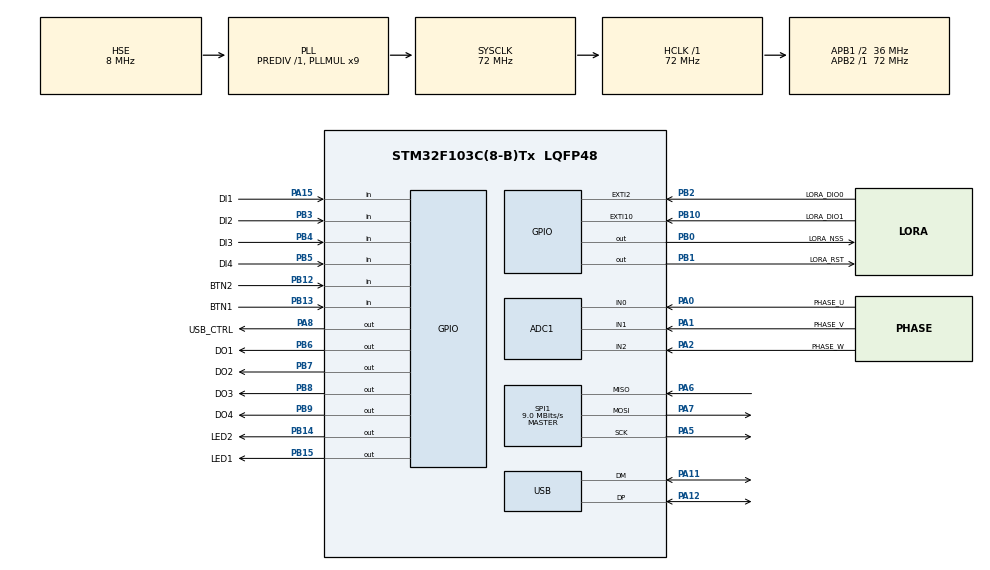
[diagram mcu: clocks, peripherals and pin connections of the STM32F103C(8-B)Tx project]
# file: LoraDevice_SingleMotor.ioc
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ADC1.Channel-0\#ChannelRegularConversion=ADC_CHANNEL_0
ADC1.Channel-1\#ChannelRegularConversion=ADC_CHANNEL_1
ADC1.Channel-2\#ChannelRegularConversion=ADC_CHANNEL_2
ADC1.ExternalTrigConv=ADC_EXTERNALTRIGCONV_T3_TRGO
ADC1.NbrOfConversion=3
ADC1.NbrOfConversionFlag=1
ADC1.Rank-0\#ChannelRegularConversion=1
ADC1.Rank-1\#ChannelRegularConversion=2
ADC1.Rank-2\#ChannelRegularConversion=3
ADC1.SamplingTime-0\#ChannelRegularConversion=ADC_SAMPLETIME_1CYCLE_5
ADC1.SamplingTime-1\#ChannelRegularConversion=ADC_SAMPLETIME_1CYCLE_5
ADC1.SamplingTime-2\#ChannelRegularConversion=ADC_SAMPLETIME_1CYCLE_5
ADC1.master=1
Dma.ADC1.0.Direction=DMA_PERIPH_TO_MEMORY
Dma.ADC1.0.Instance=DMA1_Channel1
Dma.ADC1.0.MemDataAlignment=DMA_MDATAALIGN_HALFWORD
Dma.ADC1.0.MemInc=DMA_MINC_ENABLE
Dma.ADC1.0.Mode=DMA_CIRCULAR
Dma.ADC1.0.PeriphDataAlignment=DMA_PDATAALIGN_HALFWORD
Dma.ADC1.0.PeriphInc=DMA_PINC_DISABLE
Dma.ADC1.0.Priority=DMA_PRIORITY_LOW
Dma.Request0=ADC1
FREERTOS.Queues01=txMsgQueue,16,LoraPackage_t,0,Dynamic,NULL,NULL
FREERTOS.Tasks01=systemTask,16,128,StartSystemTask,Default,NULL,Dynamic,NULL,NULL;sensorTask,32,128,StartSensorTask,Default,NULL,Dynamic,NULL,NULL;loraSendTask,8,256,StartLoraSendTask,Default,NULL,Dynamic,NULL,NULL;loraReceiveTask,8,512,StartLoraReceiveTask,Default,NULL,Dynamic,NULL,NULL
FREERTOS.Timers01=PeriodicSendStatusTimer,PeriodicSendStatusTimerCallback,osTimerPeriodic,Default,NULL,Dynamic,NULL
FREERTOS.configTOTAL_HEAP_SIZE=10240
FREERTOS.configUSE_IDLE_HOOK=1
FREERTOS.configUSE_MALLOC_FAILED_HOOK=1
Mcu.Family=STM32F1
Mcu.Name=STM32F103C(8-B)Tx
Mcu.Package=LQFP48
NVIC.DMA1_Channel1_IRQn=true\:5\:0\:false\:false\:true\:true\:false\:true\:true
NVIC.EXTI2_IRQn=true\:5\:0\:false\:false\:true\:true\:true\:true\:true
NVIC.PriorityGroup=NVIC_PRIORITYGROUP_4
NVIC.TIM1_UP_IRQn=true\:15\:0\:false\:false\:true\:false\:false\:true\:true
NVIC.TimeBase=TIM1_UP_IRQn
NVIC.TimeBaseIP=TIM1
NVIC.USB_LP_CAN1_RX0_IRQn=true\:5\:0\:false\:false\:true\:true\:false\:true\:true
PA0-WKUP.GPIO_Label=PHASE_U
PA0-WKUP.Signal=ADCx_IN0
PA1.GPIO_Label=PHASE_V
PA1.Signal=ADCx_IN1
PA11.Mode=Device
PA11.Signal=USB_DM
PA12.Mode=Device
PA12.Signal=USB_DP
PA13.Mode=Serial_Wire
PA13.Signal=SYS_JTMS-SWDIO
PA14.Mode=Serial_Wire
PA14.Signal=SYS_JTCK-SWCLK
PA15.GPIO_Label=DI1
PA15.Signal=GPIO_Input
PA2.GPIO_Label=PHASE_W
PA2.Signal=ADCx_IN2
PA5.Mode=Full_Duplex_Master
PA5.Signal=SPI1_SCK
PA6.GPIO_PuPd=GPIO_NOPULL
PA6.Mode=Full_Duplex_Master
PA6.Signal=SPI1_MISO
PA7.Mode=Full_Duplex_Master
PA7.Signal=SPI1_MOSI
PA8.GPIO_Label=USB_CTRL
PA8.Signal=GPIO_Output
PB0.GPIO_Label=LORA_NSS
PB0.PinState=GPIO_PIN_SET
PB0.Signal=GPIO_Output
PB1.GPIO_Label=LORA_RST
PB1.PinState=GPIO_PIN_SET
PB1.Signal=GPIO_Output
PB10.GPIO_Label=LORA_DIO1
PB10.Signal=GPXTI10
PB12.GPIO_Label=BTN2
PB12.Signal=GPIO_Input
PB13.GPIO_Label=BTN1
PB13.Signal=GPIO_Input
PB14.GPIO_Label=LED2
PB14.Signal=GPIO_Output
PB15.GPIO_Label=LED1
PB15.Signal=GPIO_Output
PB2.GPIO_Label=LORA_DIO0
PB2.Signal=GPXTI2
PB3.GPIO_Label=DI2
PB3.Signal=GPIO_Input
PB4.GPIO_Label=DI3
PB4.Signal=GPIO_Input
PB5.GPIO_Label=DI4
PB5.Signal=GPIO_Input
PB6.GPIO_Label=DO1
PB6.Signal=GPIO_Output
PB7.GPIO_Label=DO2
PB7.Signal=GPIO_Output
PB8.GPIO_Label=DO3
PB8.Signal=GPIO_Output
PB9.GPIO_Label=DO4
PB9.Signal=GPIO_Output
PC14-OSC32_IN.Mode=LSE-External-Oscillator
PC14-OSC32_IN.Signal=RCC_OSC32_IN
PC15-OSC32_OUT.Mode=LSE-External-Oscillator
PC15-OSC32_OUT.Signal=RCC_OSC32_OUT
PD0-OSC_IN.Mode=HSE-External-Oscillator
PD0-OSC_IN.Signal=RCC_OSC_IN
PD1-OSC_OUT.Mode=HSE-External-Oscillator
PD1-OSC_OUT.Signal=RCC_OSC_OUT
ProjectManager.HeapSize=0x200
ProjectManager.StackSize=0x400
ProjectManager.TargetToolchain=MDK-ARM V5.32
RCC.ADCPresc=RCC_ADCPCLK2_DIV6
RCC.AHBFreq_Value=72000000
RCC.APB1CLKDivider=RCC_HCLK_DIV2
RCC.APB1Freq_Value=36000000
RCC.APB1TimFreq_Value=72000000
RCC.APB2Freq_Value=72000000
RCC.APB2TimFreq_Value=72000000
RCC.HCLKFreq_Value=72000000
RCC.PLLMUL=RCC_PLL_MUL9
RCC.PLLSourceVirtual=RCC_PLLSOURCE_HSE
RCC.RTCClockSelection=RCC_RTCCLKSOURCE_LSE
RCC.SYSCLKFreq_VALUE=72000000
RCC.SYSCLKSource=RCC_SYSCLKSOURCE_PLLCLK
RCC.USBFreq_Value=48000000
RCC.USBPrescaler=RCC_USBCLKSOURCE_PLL_DIV1_5
RTC.Format=RTC_FORMAT_BIN
RTC.WeekDay=RTC_WEEKDAY_SATURDAY
SH.ADCx_IN0.0=ADC1_IN0,IN0
SH.ADCx_IN1.0=ADC1_IN1,IN1
SH.ADCx_IN2.0=ADC1_IN2,IN2
SPI1.BaudRatePrescaler=SPI_BAUDRATEPRESCALER_8
SPI1.CalculateBaudRate=9.0 MBits/s
SPI1.Direction=SPI_DIRECTION_2LINES
SPI1.Mode=SPI_MODE_MASTER
SPI1.VirtualType=VM_MASTER
TIM3.AutoReloadPreload=TIM_AUTORELOAD_PRELOAD_ENABLE
TIM3.Channel-PWM\ Generation1\ No\ Output=TIM_CHANNEL_1
TIM3.ClockDivision=TIM_CLOCKDIVISION_DIV1
TIM3.CounterMode=TIM_COUNTERMODE_UP
TIM3.Period=22499
TIM3.Prescaler=0
TIM3.Pulse-PWM\ Generation1\ No\ Output=11249
TIM3.TIM_MasterOutputTrigger=TIM_TRGO_OC1
TIM3.TIM_MasterSlaveMode=TIM_MASTERSLAVEMODE_DISABLE
USB_DEVICE.CLASS_NAME_FS=CDC
USB_DEVICE.VirtualMode=Cdc
USB_DEVICE.VirtualModeFS=Cdc_FS
VP_FREERTOS_VS_CMSIS_V2.Mode=CMSIS_V2
VP_RTC_VS_RTC_Activate.Mode=RTC_Enabled
VP_RTC_VS_RTC_Calendar.Mode=RTC_Calendar
VP_SYS_VS_tim1.Mode=TIM1
VP_TIM3_VS_ClockSourceINT.Mode=Internal
VP_TIM3_VS_no_output1.Mode=PWM Generation1 No Output
VP_USB_DEVICE_VS_USB_DEVICE_CDC_FS.Mode=CDC_FS
board=custom

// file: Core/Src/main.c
/* USER CODE BEGIN Header */
/**
  ******************************************************************************
  * @file           : main.c
  * @brief          : Main program body
  ******************************************************************************
  * @attention
  *
  * Copyright (c) 2026 STMicroelectronics.
  * All rights reserved.
  *
  * This software is licensed under terms that can be found in the LICENSE file
  * in the root directory of this software component.
  * If no LICENSE file comes with this software, it is provided AS-IS.
  *
  ******************************************************************************
  */
/* USER CODE END Header */
#include "main.h"
#include "cmsis_os.h"
#include "usb_device.h"

/* USER CODE BEGIN Includes */
#include "commandHandlers.h"
#include "motor_history.h"
#include "usbd_cdc_if.h"
#include "Lora.h"
#include "communicationLora.h"
#include "define.h"
#include "utility.h"
#include "button.h"
#include "math.h"
/* USER CODE END Includes */

ADC_HandleTypeDef hadc1;
DMA_HandleTypeDef hdma_adc1;

RTC_HandleTypeDef hrtc;

SPI_HandleTypeDef hspi1;

TIM_HandleTypeDef htim3;

/* Definitions for systemTask */
osThreadId_t systemTaskHandle;
const osThreadAttr_t systemTask_attributes = {
  .name = "systemTask",
  .stack_size = 384 * 4, /* Journal commit and packet building exceed the old 512 B. */
  .priority = (osPriority_t) osPriorityBelowNormal,
};
/* Definitions for sensorTask */
osThreadId_t sensorTaskHandle;
const osThreadAttr_t sensorTask_attributes = {
  .name = "sensorTask",
  .stack_size = 128 * 4,
  .priority = (osPriority_t) osPriorityAboveNormal,
};
/* Definitions for loraSendTask */
osThreadId_t loraSendTaskHandle;
const osThreadAttr_t loraSendTask_attributes = {
  .name = "loraSendTask",
  .stack_size = 256 * 4,
  .priority = (osPriority_t) osPriorityLow,
};
/* Definitions for loraReceiveTask */
osThreadId_t loraReceiveTaskHandle;
const osThreadAttr_t loraReceiveTask_attributes = {
  .name = "loraReceiveTask",
  .stack_size = 512 * 4,
  .priority = (osPriority_t) osPriorityLow,
};
/* Definitions for txMsgQueue */
osMessageQueueId_t txMsgQueueHandle;
const osMessageQueueAttr_t txMsgQueue_attributes = {
  .name = "txMsgQueue"
};
/* Definitions for PeriodicSendStatusTimer */
osTimerId_t PeriodicSendStatusTimerHandle;
const osTimerAttr_t PeriodicSendStatusTimer_attributes = {
  .name = "PeriodicSendStatusTimer"
};
/* USER CODE BEGIN PV */
LoRa sLoRaCtrl;
SystemInfo_t sysInfo;
static osMutexId_t motorRadioMutex;
FactoryInfo_t factoryInfo;
Button_t configButton = {BTN1_GPIO_Port, BTN1_Pin, IDLE, 0, 0, 0};
Button_t confirmButton = {BTN2_GPIO_Port, BTN2_Pin, IDLE, 0, 0, 0};
uint16_t errorCode = 0;
uint8_t rxBuffer[128];
uint8_t hasRecieveMsg = FALSE;
const int32_t ADC2CurrentConst = 3.3f / (4096.0f * GAIN_AV * R_SHUNT) * 1000.0f;

 float rms;
/* USER CODE END PV */

void SystemClock_Config(void);
static void MX_GPIO_Init(void);
static void MX_DMA_Init(void);
static void MX_ADC1_Init(void);
static void MX_RTC_Init(void);
static void MX_SPI1_Init(void);
static void MX_TIM3_Init(void);
void StartSystemTask(void *argument);
void StartSensorTask(void *argument);
void StartLoraSendTask(void *argument);
void StartLoraReceiveTask(void *argument);
void PeriodicSendStatusTimerCallback(void *argument);

int main(void)
{

  /* USER CODE BEGIN 1 */
  SCB->VTOR = 0x08000000u; /* ST-Link standalone application, no bootloader. */
  __DSB(); __ISB();

  /* USER CODE END 1 */

  /* MCU Configuration--------------------------------------------------------*/

  /* Reset of all peripherals, Initializes the Flash interface and the Systick. */
  HAL_Init();

  /* Configure the system clock */
  SystemClock_Config();

  /* Initialize all configured peripherals */
  MX_GPIO_Init();
  MX_DMA_Init();
  MX_ADC1_Init();
  MX_RTC_Init();
  MX_SPI1_Init();
  MX_TIM3_Init();
  /* USER CODE BEGIN 2 */

	// MODULE SETTINGS ----------------------------------------------
	sysInfo.sysState = SYSSTATE_IDLE;
	sysInfo.netIdConfig = 0x01;
	sysInfo.nodeIdConfig = 0x01;
	sysInfo.frequencyConfig = 433;
	sysInfo.sfConfig = SF_7;
	sysInfo.autoStatusSeconds = AUTO_STATUS_DEFAULT_SECONDS;
	CmdHandler_MotorConfig_Load();
    sysInfo.powerState=MOTOR_POWER_OFF;
    MotorHistory_Init();
	sysInfo.netId = sysInfo.netIdConfig;
	sysInfo.nodeId = sysInfo.nodeIdConfig;
	sLoRaCtrl = newLoRa();

	sLoRaCtrl.hSPIx                 = &hspi1;
	sLoRaCtrl.CS_port               = LORA_NSS_GPIO_Port;
	sLoRaCtrl.CS_pin                = LORA_NSS_Pin;
	sLoRaCtrl.reset_port            = LORA_RST_GPIO_Port;
	sLoRaCtrl.reset_pin             = LORA_RST_Pin;
	sLoRaCtrl.DIO0_port						 	= LORA_DIO0_GPIO_Port;
	sLoRaCtrl.DIO0_pin							= LORA_DIO0_Pin;

	sLoRaCtrl.frequency             = sysInfo.frequencyConfig;
	sLoRaCtrl.spredingFactor        = sysInfo.sfConfig;
	sLoRaCtrl.bandWidth			       	= BW_125KHz;				  // default = BW_125KHz
	sLoRaCtrl.crcRate				      	= CR_4_5;						// default = CR_4_5
	sLoRaCtrl.power					       	= POWER_17db;				// default = 20db
	sLoRaCtrl.overCurrentProtection = 120; 							// default = 100 mA
	sLoRaCtrl.preamble				      = 10;

	LoRa_reset(&sLoRaCtrl);
	errorCode = LoRa_init(&sLoRaCtrl);
	// START CONTINUOUS RECEIVING -----------------------------------
	LoRa_startReceiving(&sLoRaCtrl);

	factoryInfo.serial = 0xABCDEF01;
	factoryInfo.deviceType = 0x01;
	factoryInfo.numberOfModule = 1U;

	HAL_ADC_Start_DMA(&hadc1, (uint32_t *)sysInfo.phaseCurrentADC, 192);
	__HAL_DMA_DISABLE_IT(&hdma_adc1, DMA_IT_HT);
	HAL_TIM_Base_Start(&htim3);
	HAL_TIM_PWM_Start(&htim3, TIM_CHANNEL_1);

  /* USER CODE END 2 */

  /* Init scheduler */
  osKernelInitialize();

  /* USER CODE BEGIN RTOS_MUTEX */
    const osMutexAttr_t radioAttr={.name="Radio",.attr_bits=osMutexPrioInherit};
    motorRadioMutex=osMutexNew(&radioAttr);
    if (!motorRadioMutex) Error_Handler();
    MotorHistory_Start();
  /* add mutexes, ... */
  /* USER CODE END RTOS_MUTEX */

  /* Create the timer(s) */
  /* creation of PeriodicSendStatusTimer */
  PeriodicSendStatusTimerHandle = osTimerNew(PeriodicSendStatusTimerCallback, osTimerPeriodic, NULL, &PeriodicSendStatusTimer_attributes);

  /* Create the queue(s) */
  /* creation of txMsgQueue */
  txMsgQueueHandle = osMessageQueueNew (8, sizeof(LoraPackage_t), &txMsgQueue_attributes);

  /* Create the thread(s) */
  /* creation of systemTask */
  systemTaskHandle = osThreadNew(StartSystemTask, NULL, &systemTask_attributes);

  /* creation of sensorTask */
  sensorTaskHandle = osThreadNew(StartSensorTask, NULL, &sensorTask_attributes);

  /* creation of loraSendTask */
  loraSendTaskHandle = osThreadNew(StartLoraSendTask, NULL, &loraSendTask_attributes);

  /* creation of loraReceiveTask */
  loraReceiveTaskHandle = osThreadNew(StartLoraReceiveTask, NULL, &loraReceiveTask_attributes);

  /* Start scheduler */
  osKernelStart();

  /* We should never get here as control is now taken by the scheduler */

  /* Infinite loop */
  while (1)
  {

  }
}

void SystemClock_Config(void)
{
  RCC_OscInitTypeDef RCC_OscInitStruct = {0};
  RCC_ClkInitTypeDef RCC_ClkInitStruct = {0};
  RCC_PeriphCLKInitTypeDef PeriphClkInit = {0};

  /** Initializes the RCC Oscillators according to the specified parameters
  * in the RCC_OscInitTypeDef structure.
  */
  RCC_OscInitStruct.OscillatorType = RCC_OSCILLATORTYPE_HSE|RCC_OSCILLATORTYPE_LSE;
  RCC_OscInitStruct.HSEState = RCC_HSE_ON;
  RCC_OscInitStruct.HSEPredivValue = RCC_HSE_PREDIV_DIV1;
  RCC_OscInitStruct.LSEState = RCC_LSE_ON;
  RCC_OscInitStruct.HSIState = RCC_HSI_ON;
  RCC_OscInitStruct.PLL.PLLState = RCC_PLL_ON;
  RCC_OscInitStruct.PLL.PLLSource = RCC_PLLSOURCE_HSE;
  RCC_OscInitStruct.PLL.PLLMUL = RCC_PLL_MUL9;
  if (HAL_RCC_OscConfig(&RCC_OscInitStruct) != HAL_OK)
  {
    Error_Handler();
  }

  /** Initializes the CPU, AHB and APB buses clocks
  */
  RCC_ClkInitStruct.ClockType = RCC_CLOCKTYPE_HCLK|RCC_CLOCKTYPE_SYSCLK
                              |RCC_CLOCKTYPE_PCLK1|RCC_CLOCKTYPE_PCLK2;
  RCC_ClkInitStruct.SYSCLKSource = RCC_SYSCLKSOURCE_PLLCLK;
  RCC_ClkInitStruct.AHBCLKDivider = RCC_SYSCLK_DIV1;
  RCC_ClkInitStruct.APB1CLKDivider = RCC_HCLK_DIV2;
  RCC_ClkInitStruct.APB2CLKDivider = RCC_HCLK_DIV1;

  if (HAL_RCC_ClockConfig(&RCC_ClkInitStruct, FLASH_LATENCY_2) != HAL_OK)
  {
    Error_Handler();
  }
  PeriphClkInit.PeriphClockSelection = RCC_PERIPHCLK_RTC|RCC_PERIPHCLK_ADC
                              |RCC_PERIPHCLK_USB;
  PeriphClkInit.RTCClockSelection = RCC_RTCCLKSOURCE_LSE;
  PeriphClkInit.AdcClockSelection = RCC_ADCPCLK2_DIV6;
  PeriphClkInit.UsbClockSelection = RCC_USBCLKSOURCE_PLL_DIV1_5;
  if (HAL_RCCEx_PeriphCLKConfig(&PeriphClkInit) != HAL_OK)
  {
    Error_Handler();
  }
}

static void MX_ADC1_Init(void)
{

  ADC_ChannelConfTypeDef sConfig = {0};

  /** Common config
  */
  hadc1.Instance = ADC1;
  hadc1.Init.ScanConvMode = ADC_SCAN_ENABLE;
  hadc1.Init.ContinuousConvMode = DISABLE;
  hadc1.Init.DiscontinuousConvMode = DISABLE;
  hadc1.Init.ExternalTrigConv = ADC_EXTERNALTRIGCONV_T3_TRGO;
  hadc1.Init.DataAlign = ADC_DATAALIGN_RIGHT;
  hadc1.Init.NbrOfConversion = 3;
  if (HAL_ADC_Init(&hadc1) != HAL_OK)
  {
    Error_Handler();
  }

  /** Configure Regular Channel
  */
  sConfig.Channel = ADC_CHANNEL_0;
  sConfig.Rank = ADC_REGULAR_RANK_1;
  sConfig.SamplingTime = ADC_SAMPLETIME_1CYCLE_5;
  if (HAL_ADC_ConfigChannel(&hadc1, &sConfig) != HAL_OK)
  {
    Error_Handler();
  }

  /** Configure Regular Channel
  */
  sConfig.Channel = ADC_CHANNEL_1;
  sConfig.Rank = ADC_REGULAR_RANK_2;
  if (HAL_ADC_ConfigChannel(&hadc1, &sConfig) != HAL_OK)
  {
    Error_Handler();
  }

  /** Configure Regular Channel
  */
  sConfig.Channel = ADC_CHANNEL_2;
  sConfig.Rank = ADC_REGULAR_RANK_3;
  if (HAL_ADC_ConfigChannel(&hadc1, &sConfig) != HAL_OK)
  {
    Error_Handler();
  }

}

static void MX_RTC_Init(void)
{

  RTC_TimeTypeDef sTime = {0};
  RTC_DateTypeDef DateToUpdate = {0};

  /** Initialize RTC Only
  */
  hrtc.Instance = RTC;
  hrtc.Init.AsynchPrediv = RTC_AUTO_1_SECOND;
  hrtc.Init.OutPut = RTC_OUTPUTSOURCE_ALARM;
  if (HAL_RTC_Init(&hrtc) != HAL_OK)
  {
    Error_Handler();
  }

  /* USER CODE BEGIN Check_RTC_BKUP */
	if (HAL_RTCEx_BKUPRead(&hrtc, RTC_BKP_DR1) != 0x3210)
	{
  /* USER CODE END Check_RTC_BKUP */

  /** Initialize RTC and set the Time and Date
  */
  sTime.Hours = 0;
  sTime.Minutes = 0;
  sTime.Seconds = 0;

  if (HAL_RTC_SetTime(&hrtc, &sTime, RTC_FORMAT_BIN) != HAL_OK)
  {
    Error_Handler();
  }
  DateToUpdate.WeekDay = RTC_WEEKDAY_SATURDAY;
  DateToUpdate.Month = RTC_MONTH_JANUARY;
  DateToUpdate.Date = 1;
  DateToUpdate.Year = 0;

  if (HAL_RTC_SetDate(&hrtc, &DateToUpdate, RTC_FORMAT_BIN) != HAL_OK)
  {
    Error_Handler();
  }
  /* USER CODE BEGIN RTC_Init 2 */
    HAL_RTCEx_BKUPWrite(&hrtc, RTC_BKP_DR1, 0x3210);
	}
  /* USER CODE END RTC_Init 2 */

}

static void MX_SPI1_Init(void)
{

  /* SPI1 parameter configuration*/
  hspi1.Instance = SPI1;
  hspi1.Init.Mode = SPI_MODE_MASTER;
  hspi1.Init.Direction = SPI_DIRECTION_2LINES;
  hspi1.Init.DataSize = SPI_DATASIZE_8BIT;
  hspi1.Init.CLKPolarity = SPI_POLARITY_LOW;
  hspi1.Init.CLKPhase = SPI_PHASE_1EDGE;
  hspi1.Init.NSS = SPI_NSS_SOFT;
  hspi1.Init.BaudRatePrescaler = SPI_BAUDRATEPRESCALER_8;
  hspi1.Init.FirstBit = SPI_FIRSTBIT_MSB;
  hspi1.Init.TIMode = SPI_TIMODE_DISABLE;
  hspi1.Init.CRCCalculation = SPI_CRCCALCULATION_DISABLE;
  hspi1.Init.CRCPolynomial = 10;
  if (HAL_SPI_Init(&hspi1) != HAL_OK)
  {
    Error_Handler();
  }

}

static void MX_TIM3_Init(void)
{

  TIM_ClockConfigTypeDef sClockSourceConfig = {0};
  TIM_MasterConfigTypeDef sMasterConfig = {0};
  TIM_OC_InitTypeDef sConfigOC = {0};

  htim3.Instance = TIM3;
  htim3.Init.Prescaler = 0;
  htim3.Init.CounterMode = TIM_COUNTERMODE_UP;
  htim3.Init.Period = 22499;
  htim3.Init.ClockDivision = TIM_CLOCKDIVISION_DIV1;
  htim3.Init.AutoReloadPreload = TIM_AUTORELOAD_PRELOAD_ENABLE;
  if (HAL_TIM_Base_Init(&htim3) != HAL_OK)
  {
    Error_Handler();
  }
  sClockSourceConfig.ClockSource = TIM_CLOCKSOURCE_INTERNAL;
  if (HAL_TIM_ConfigClockSource(&htim3, &sClockSourceConfig) != HAL_OK)
  {
    Error_Handler();
  }
  if (HAL_TIM_PWM_Init(&htim3) != HAL_OK)
  {
    Error_Handler();
  }
  sMasterConfig.MasterOutputTrigger = TIM_TRGO_OC1;
  sMasterConfig.MasterSlaveMode = TIM_MASTERSLAVEMODE_DISABLE;
  if (HAL_TIMEx_MasterConfigSynchronization(&htim3, &sMasterConfig) != HAL_OK)
  {
    Error_Handler();
  }
  sConfigOC.OCMode = TIM_OCMODE_PWM1;
  sConfigOC.Pulse = 11249;
  sConfigOC.OCPolarity = TIM_OCPOLARITY_HIGH;
  sConfigOC.OCFastMode = TIM_OCFAST_DISABLE;
  if (HAL_TIM_PWM_ConfigChannel(&htim3, &sConfigOC, TIM_CHANNEL_1) != HAL_OK)
  {
    Error_Handler();
  }

}

static void MX_DMA_Init(void)
{

  /* DMA controller clock enable */
  __HAL_RCC_DMA1_CLK_ENABLE();

  /* DMA interrupt init */
  /* DMA1_Channel1_IRQn interrupt configuration */
  HAL_NVIC_SetPriority(DMA1_Channel1_IRQn, 5, 0);
  HAL_NVIC_EnableIRQ(DMA1_Channel1_IRQn);

}

static void MX_GPIO_Init(void)
{
  GPIO_InitTypeDef GPIO_InitStruct = {0};

  /* GPIO Ports Clock Enable */
  __HAL_RCC_GPIOC_CLK_ENABLE();
  __HAL_RCC_GPIOD_CLK_ENABLE();
  __HAL_RCC_GPIOA_CLK_ENABLE();
  __HAL_RCC_GPIOB_CLK_ENABLE();

  /*Configure GPIO pin Output Level */
  HAL_GPIO_WritePin(GPIOB, LORA_NSS_Pin|LORA_RST_Pin, GPIO_PIN_SET);

  /*Configure GPIO pin Output Level */
  HAL_GPIO_WritePin(GPIOB, LED2_Pin|LED1_Pin|DO1_Pin|DO2_Pin
                          |DO3_Pin|DO4_Pin, GPIO_PIN_RESET);

  /*Configure GPIO pin Output Level */
  HAL_GPIO_WritePin(USB_CTRL_GPIO_Port, USB_CTRL_Pin, GPIO_PIN_RESET);

  /*Configure GPIO pins : LORA_NSS_Pin LORA_RST_Pin LED2_Pin LED1_Pin
                           DO1_Pin DO2_Pin DO3_Pin DO4_Pin */
  GPIO_InitStruct.Pin = LORA_NSS_Pin|LORA_RST_Pin|LED2_Pin|LED1_Pin
                          |DO1_Pin|DO2_Pin|DO3_Pin|DO4_Pin;
  GPIO_InitStruct.Mode = GPIO_MODE_OUTPUT_PP;
  GPIO_InitStruct.Pull = GPIO_NOPULL;
  GPIO_InitStruct.Speed = GPIO_SPEED_FREQ_LOW;
  HAL_GPIO_Init(GPIOB, &GPIO_InitStruct);

  /*Configure GPIO pins : LORA_DIO0_Pin LORA_DIO1_Pin */
  GPIO_InitStruct.Pin = LORA_DIO0_Pin|LORA_DIO1_Pin;
  GPIO_InitStruct.Mode = GPIO_MODE_IT_RISING;
  GPIO_InitStruct.Pull = GPIO_NOPULL;
  HAL_GPIO_Init(GPIOB, &GPIO_InitStruct);

  /*Configure GPIO pins : BTN2_Pin BTN1_Pin DI2_Pin DI3_Pin
                           DI4_Pin */
  GPIO_InitStruct.Pin = BTN2_Pin|BTN1_Pin|DI2_Pin|DI3_Pin
                          |DI4_Pin;
  GPIO_InitStruct.Mode = GPIO_MODE_INPUT;
  GPIO_InitStruct.Pull = GPIO_NOPULL;
  HAL_GPIO_Init(GPIOB, &GPIO_InitStruct);

  /*Configure GPIO pin : USB_CTRL_Pin */
  GPIO_InitStruct.Pin = USB_CTRL_Pin;
  GPIO_InitStruct.Mode = GPIO_MODE_OUTPUT_PP;
  GPIO_InitStruct.Pull = GPIO_NOPULL;
  GPIO_InitStruct.Speed = GPIO_SPEED_FREQ_LOW;
  HAL_GPIO_Init(USB_CTRL_GPIO_Port, &GPIO_InitStruct);

  /*Configure GPIO pin : DI1_Pin */
  GPIO_InitStruct.Pin = DI1_Pin;
  GPIO_InitStruct.Mode = GPIO_MODE_INPUT;
  GPIO_InitStruct.Pull = GPIO_NOPULL;
  HAL_GPIO_Init(DI1_GPIO_Port, &GPIO_InitStruct);

  /* EXTI interrupt init*/
  HAL_NVIC_SetPriority(EXTI2_IRQn, 5, 0);
  HAL_NVIC_EnableIRQ(EXTI2_IRQn);

}

/* USER CODE BEGIN 4 */
/* Preserve the existing LOW-current alarm; zero threshold disables it. */
__attribute__((noinline)) uint8_t Motor_CurrentAlarmDue(uint32_t now)
{
	float threshold = (float)sysInfo.alarmThresholdCentiAmp * 0.01f;
	if (sysInfo.powerState != MOTOR_POWER_ON || !sysInfo.alarmThresholdCentiAmp ||
		!(sysInfo.phaseCurrent[0] < threshold || sysInfo.phaseCurrent[1] < threshold ||
		  sysInfo.phaseCurrent[2] < threshold)) {
		sysInfo.currentDebounceTick = now;
		sysInfo.isAlarmOccurred = FALSE;
		return FALSE;
	}
	if (!sysInfo.isAlarmOccurred && (uint32_t)(now - sysInfo.currentDebounceTick) >=
		(uint32_t)sysInfo.alarmDelaySeconds * configTICK_RATE_HZ) {
		sysInfo.isAlarmOccurred = TRUE;
		sysInfo.lastAlarmTick = now;
		return TRUE;
	}
	return FALSE;
}

__attribute__((noinline)) static void Motor_SendAlarm(uint8_t code, uint32_t startTime)
{
	PayloadRequestAlarm_t payload;
	payload.moduleIndex = 0;    /* one motor per slave for now (remote KI-23) */
	payload.alarmCode = code;
	payload.alarmTime = startTime;
	LoraPackage_t packet = Comm_CreateReqAlarmMsg(sysInfo.netId, sysInfo.nodeId, payload);
	osMessageQueuePut(txMsgQueueHandle, &packet, 0, pdMS_TO_TICKS(100));
}

/*
 * Raise, repeat and clear the low-current alarm (remote KI-17/KI-23).
 * The alarm is repeated every ALARM_REPEAT_MS with its start time. The remote
 * clears an alarm by itself after 75 s without a repeat, so keep this period
 * well below that. CMD_ALARM_MESSAGE has no acknowledgement, so the end of
 * the alarm (ALARM_CLEARED) is sent ALARM_CLEAR_REPEATS times.
 */
#define ALARM_REPEAT_MS       15000u
#define ALARM_CLEAR_REPEATS   3u
#define ALARM_CLEAR_PERIOD_MS 5000u

__attribute__((noinline)) void Motor_AlarmTick(uint32_t now)
{
	uint8_t alarmBefore = sysInfo.isAlarmOccurred;

	if (Motor_CurrentAlarmDue(now)) {
		sysInfo.alarmCode = ALARM_LOW_CURRENT;
		sysInfo.alarmTime = sysInfo.currentTime;
		sysInfo.clearRepeatsLeft = 0;
		MotorHistory_Record(HIST_ALARM,HIST_SLAVE,sysInfo.powerState,sysInfo.powerState,
			HIST_ERROR_LOW_CURRENT,HIST_WARNING);
		Motor_SendAlarm(ALARM_LOW_CURRENT, sysInfo.alarmTime);
	}
	else if (alarmBefore && !sysInfo.isAlarmOccurred) {
		MotorHistory_Record(HIST_CLEAR,HIST_SLAVE,sysInfo.powerState,sysInfo.powerState,
			HIST_ERROR_LOW_CURRENT,HIST_APPLIED);
		sysInfo.alarmCode = ALARM_NONE;
		sysInfo.clearRepeatsLeft = ALARM_CLEAR_REPEATS - 1;
		sysInfo.lastClearTick = now;
		Motor_SendAlarm(ALARM_CLEARED, sysInfo.alarmTime);
	}
	else if (sysInfo.isAlarmOccurred) {
		if ((uint32_t)(now - sysInfo.lastAlarmTick) > pdMS_TO_TICKS(ALARM_REPEAT_MS)) {
			sysInfo.lastAlarmTick = now;
			Motor_SendAlarm(sysInfo.alarmCode, sysInfo.alarmTime);
		}
	}
	else if (sysInfo.clearRepeatsLeft &&
		(uint32_t)(now - sysInfo.lastClearTick) >= pdMS_TO_TICKS(ALARM_CLEAR_PERIOD_MS)) {
		sysInfo.clearRepeatsLeft--;
		sysInfo.lastClearTick = now;
		Motor_SendAlarm(ALARM_CLEARED, sysInfo.alarmTime);
	}
}

void HAL_GPIO_EXTI_Callback(uint16_t GPIO_Pin)
{
    if (GPIO_Pin == sLoRaCtrl.DIO0_pin)
    {
        BaseType_t xHigherPriorityTaskWoken = pdFALSE;
        vTaskNotifyGiveFromISR(loraReceiveTaskHandle, &xHigherPriorityTaskWoken);

        portYIELD_FROM_ISR(xHigherPriorityTaskWoken);
    }

}

void setRTC_dateTime(RTC_TimeTypeDef sTime, RTC_DateTypeDef sDate) {
	if (HAL_RTC_SetTime(&hrtc, &sTime, RTC_FORMAT_BIN) != HAL_OK)
	{
		Error_Handler();
	}
	if (HAL_RTC_SetDate(&hrtc, &sDate, RTC_FORMAT_BIN) != HAL_OK)
	{
		Error_Handler();
	}
	HAL_RTCEx_BKUPWrite(&hrtc, RTC_BKP_DR1, 0x3210);
}

void ADC_endConversionIRQHandler(void)
{
	int64_t sumSqrt[3];
	for (int i = 0; i < 64; i++)
	{
		sumSqrt[0] = sysInfo.phaseCurrentADC[i]*sysInfo.phaseCurrentADC[i] - sysInfo.offsetCurrent[0];
		sumSqrt[1] = sysInfo.phaseCurrentADC[i]*sysInfo.phaseCurrentADC[i] - sysInfo.offsetCurrent[1];
		sumSqrt[2] = sysInfo.phaseCurrentADC[i]*sysInfo.phaseCurrentADC[i] - sysInfo.offsetCurrent[2];
	}
	sysInfo.phaseCurrent[0] = sqrt(sumSqrt[0]) * ADC2CurrentConst;
	sysInfo.phaseCurrent[1] = sqrt(sumSqrt[1]) * ADC2CurrentConst;
	sysInfo.phaseCurrent[2] = sqrt(sumSqrt[2]) * ADC2CurrentConst;
	Motor_ApplySimulatedCurrents();
}

/* Bench simulation: a motor draws the set currents while ON and nothing while OFF. */
__attribute__((noinline)) void Motor_ApplySimulatedCurrents(void)
{
	if (!sysInfo.simActive) {
		return;
	}
	for (int phase = 0; phase < 3; phase++) {
		sysInfo.phaseCurrent[phase] = sysInfo.powerState == MOTOR_POWER_ON ?
			sysInfo.simMilliAmp[phase] * 0.001f : 0.0f;
	}
}

/* USER CODE END 4 */

void StartSystemTask(void *argument)
{
  /* init code for USB_DEVICE */
  MX_USB_DEVICE_Init();
  /* USER CODE BEGIN 5 */
  /* Infinite loop */
  for(;;)
  {
    MotorUSB_Process();
		//Read rtc time
		HAL_RTC_GetTime(&hrtc, &sysInfo.rtcTime, RTC_FORMAT_BIN);
		HAL_RTC_GetDate(&hrtc, &sysInfo.rtcDate, RTC_FORMAT_BIN);
		sysInfo.currentTime = getUnixTimestamp(&sysInfo.rtcTime, &sysInfo.rtcDate);

		/* CMD_UNPAIR (remote KI-27): configuration mode 500 ms later, after the reply was sent. */
		if (sysInfo.unpairTick && (uint32_t)(xTaskGetTickCount() - sysInfo.unpairTick) >= pdMS_TO_TICKS(500)) {
			sysInfo.unpairTick = 0;
			configButton.isLongPressed = TRUE;
		}
		if (configButton.isLongPressed == TRUE) {
			configButton.isLongPressed = FALSE;

			sysInfo.sysState = SYSSTATE_CONFIGURATION;

			sysInfo.netId = LORA_NET_ID_CONFIG;
			sysInfo.nodeId = LORA_NODE_ID_CONFIG;
			sLoRaCtrl.frequency             = 433;
			sLoRaCtrl.spredingFactor        = SF_7;
			LoRa_reset(&sLoRaCtrl);
			LoRa_init(&sLoRaCtrl);
			LoRa_startReceiving(&sLoRaCtrl);
		}

		if (confirmButton.isLongPressed == TRUE) {
			confirmButton.isLongPressed = FALSE;

			sysInfo.sysState = SYSSTATE_RUNNING;

			sysInfo.netId = sysInfo.netIdConfig;
			sysInfo.nodeId = sysInfo.nodeIdConfig;
			sLoRaCtrl.frequency             = sysInfo.frequencyConfig;
			sLoRaCtrl.spredingFactor        = sysInfo.sfConfig;
			LoRa_reset(&sLoRaCtrl);
			LoRa_init(&sLoRaCtrl);
			LoRa_startReceiving(&sLoRaCtrl);
		}

		if (sysInfo.sysState == SYSSTATE_IDLE) {
			sysInfo.sysState = SYSSTATE_RUNNING;
			sysInfo.currentDebounceTick = xTaskGetTickCount();
			sysInfo.lastAlarmTick = xTaskGetTickCount();
			for (int blinkTime = 0; blinkTime < 3; blinkTime ++) {
				HAL_GPIO_TogglePin(LED2_GPIO_Port, LED2_Pin);
				osDelay(1000);
			}
		}
		else if (sysInfo.sysState == SYSSTATE_RUNNING) {
			HAL_GPIO_WritePin(LED2_GPIO_Port, LED2_Pin, GPIO_PIN_SET);
			// Check motor scheduler
			if (sysInfo.powerState == MOTOR_POWER_ON
					&& sysInfo.currentTime >= sysInfo.scheduleTime
					&& sysInfo.scheduleTime != 0)
			{
                Motor_SetPower(MOTOR_POWER_OFF,HIST_TIMER);
			}
			Motor_AlarmTick(xTaskGetTickCount());

		}
		else if (sysInfo.sysState == SYSSTATE_CONFIGURATION) {
			HAL_GPIO_TogglePin(LED2_GPIO_Port, LED2_Pin);
			osDelay(200);
		}
		if (hasRecieveMsg == TRUE) {
			hasRecieveMsg = FALSE;
			for (int blinkTime = 0; blinkTime < 3; blinkTime ++) {
				HAL_GPIO_TogglePin(LED2_GPIO_Port, LED2_Pin);
				osDelay(200);
			}
		}
        MotorHistory_Tick();
		osDelay(100);

  }
  /* USER CODE END 5 */
}

void StartSensorTask(void *argument)
{
  /* USER CODE BEGIN StartSensorTask */
  /* Infinite loop */
  for(;;)
  {
		// Update button state
		updateButtonStatus(&configButton);
		updateButtonStatus(&confirmButton);
    osDelay(10);
  }
  /* USER CODE END StartSensorTask */
}

void StartLoraSendTask(void *argument)
{
  /* USER CODE BEGIN StartLoraSendTask */
	osStatus_t queueStatus;
	LoraPackage_t txPackage;
	sysInfo.lastStatusTxTick = xTaskGetTickCount() - (uint32_t)sysInfo.autoStatusSeconds * configTICK_RATE_HZ;
	osTimerStart(PeriodicSendStatusTimerHandle, configTICK_RATE_HZ);
  /* Infinite loop */
  for(;;)
  {
		queueStatus = osMessageQueueGet(txMsgQueueHandle, &txPackage, NULL, osWaitForever);
		if (queueStatus == osOK) {
            if (!MotorHistory_ShouldTransmit(&txPackage)) {
                MotorHistory_TxSkipped(&txPackage); continue;
            }
            osMutexAcquire(motorRadioMutex,osWaitForever);
			uint8_t sent = LoRa_transmit(&sLoRaCtrl, txPackage.rawData, txPackage.byteCount, 5000);
			LoRa_startReceiving(&sLoRaCtrl);
            osMutexRelease(motorRadioMutex);
            MotorHistory_TxFinished(&txPackage);
			if (txPackage.code == CMD_GET_STATUS) CmdHandler_Motor_StatusSent(sent);
			osDelay(pdMS_TO_TICKS(200));
		}
  }
  /* USER CODE END StartLoraSendTask */
}

void StartLoraReceiveTask(void *argument)
{
  /* USER CODE BEGIN StartLoraReceiveTask */
	uint32_t ulNotificationValue;
  /* Infinite loop */
  for(;;)
  {
    ulNotificationValue = ulTaskNotifyTake(pdTRUE, osWaitForever);
		if (ulNotificationValue > 0)
		{
            osMutexAcquire(motorRadioMutex,osWaitForever);
			uint8_t rxLength = LoRa_receive(&sLoRaCtrl, rxBuffer, 128);
			Comm_ProcessRxData(rxBuffer, rxLength);
            osMutexRelease(motorRadioMutex);
		}
  }
  /* USER CODE END StartLoraReceiveTask */
}

/* PeriodicSendStatusTimerCallback function */
void PeriodicSendStatusTimerCallback(void *argument)
{
  /* USER CODE BEGIN PeriodicSendStatusTimerCallback */
	CmdHandler_Motor_AutoStatusTick(xTaskGetTickCount());
  /* USER CODE END PeriodicSendStatusTimerCallback */
}

void HAL_TIM_PeriodElapsedCallback(TIM_HandleTypeDef *htim)
{
  if (htim->Instance == TIM1)
  {
    HAL_IncTick();
  }
}

void Error_Handler(void)
{
  __disable_irq();
  while (1)
  {
  }
}

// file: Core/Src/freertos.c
/* USER CODE BEGIN Header */
/**
  ******************************************************************************
  * File Name          : freertos.c
  * Description        : Code for freertos applications
  ******************************************************************************
  * @attention
  *
  * Copyright (c) 2026 STMicroelectronics.
  * All rights reserved.
  *
  * This software is licensed under terms that can be found in the LICENSE file
  * in the root directory of this software component.
  * If no LICENSE file comes with this software, it is provided AS-IS.
  *
  ******************************************************************************
  */
/* USER CODE END Header */

#include "FreeRTOS.h"
#include "task.h"
#include "main.h"

/* Hook prototypes */
void vApplicationIdleHook(void);
void vApplicationMallocFailedHook(void);

/* USER CODE BEGIN 2 */
void vApplicationIdleHook( void )
{
   /* vApplicationIdleHook() will only be called if configUSE_IDLE_HOOK is set
   to 1 in FreeRTOSConfig.h. It will be called on each iteration of the idle
   task. It is essential that code added to this hook function never attempts
   to block in any way (for example, call xQueueReceive() with a block time
   specified, or call vTaskDelay()). If the application makes use of the
   vTaskDelete() API function (as this demo application does) then it is also
   important that vApplicationIdleHook() is permitted to return to its calling
   function, because it is the responsibility of the idle task to clean up
   memory allocated by the kernel to any task that has since been deleted. */
}
/* USER CODE END 2 */

/* USER CODE BEGIN 5 */
void vApplicationMallocFailedHook(void)
{
   /* vApplicationMallocFailedHook() will only be called if
   configUSE_MALLOC_FAILED_HOOK is set to 1 in FreeRTOSConfig.h. It is a hook
   function that will get called if a call to pvPortMalloc() fails.
   pvPortMalloc() is called internally by the kernel whenever a task, queue,
   timer or semaphore is created. It is also called by various parts of the
   demo application. If heap_1.c or heap_2.c are used, then the size of the
   heap available to pvPortMalloc() is defined by configTOTAL_HEAP_SIZE in
   FreeRTOSConfig.h, and the xPortGetFreeHeapSize() API function can be used
   to query the size of free heap space that remains (although it does not
   provide information on how the remaining heap might be fragmented). */
}
/* USER CODE END 5 */
